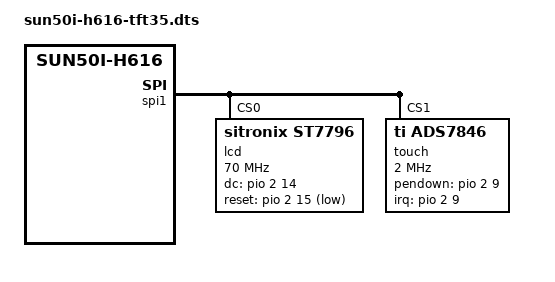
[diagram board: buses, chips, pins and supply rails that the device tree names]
/dts-v1/;
/plugin/;

/ {
	compatible = "allwinner,sun50i-h616";

	fragment@0 {
		target = <&spi1>;
		 __overlay__ {
			#address-cells = <1>;
   			#size-cells = <0>;
			status = "okay";
			lcd@0{
				compatible = "sitronix,st7796";
				reg = <0>;
				spi-max-frequency = <70000000>;
				status = "okay";

				dc-gpios = <&pio  2 14 0>; /* PC14  GPIO_ACTIVE_HIGH*/
				reset-gpios = <&pio 2 15 1>; /* PC15  GPIO_ACTIVE_LOW */
				rotate = <270>;
				buswidth = <8>;
				regwidth = <10>;
				fps = <30>;
				bgr = <0> ;
				debug = <0x00>;
			};
			
			touch@1{
				compatible = "ti,ads7846";
				reg = <0x1>;
				spi-max-frequency = <2000000>;
				status = "okay";

				interrupt-parent = <&pio>;
				interrupts = <2 9 8>; /* PC9 IRQ_TYPE_LEVEL_LOW */
				pendown-gpio = <&pio  2 9 0>;

			};


		};
	};
	
	fragment@1 {
		target = <&spi1>;

		__overlay__ {
			status = "okay";

			spidev@0 {
				status = "disabled";
			};

			spidev@1 {
				status = "disabled";
			};
		};
	};

};
